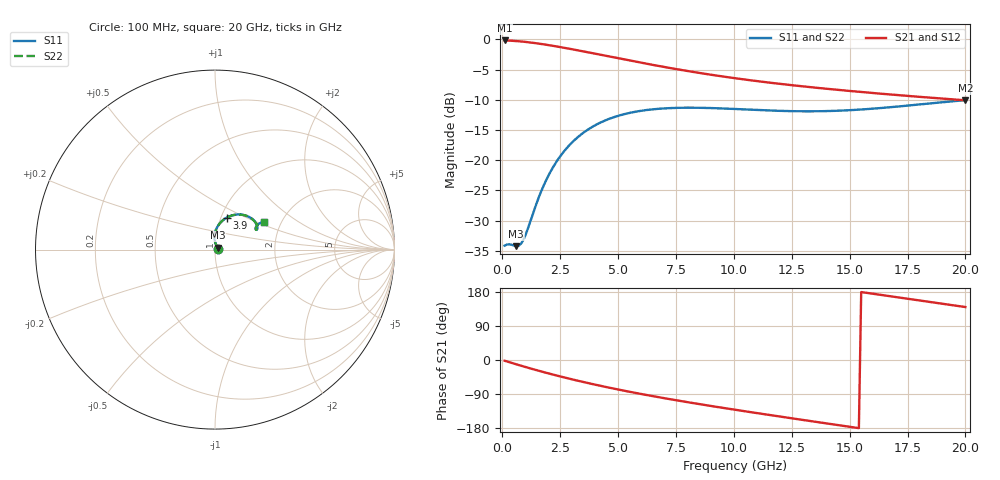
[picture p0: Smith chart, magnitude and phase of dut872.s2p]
! Touchstone file exported from HFSS 2024.1.0
!  File:  C:/UserFiles/LocalFiles/RDL_TSV_Batchsim/temp_RDL_TSV_872_1779927690.aedt
!  Generated:  08:36:16 AM May 28, 2026
!  Design:  RDL_TSV
!  Project:  temp_RDL_TSV_872_1779927690
!  Setup:  Setup1
!  Solution:  Sweep
! Variables:
!  dtsv = 9.63um
!  hbump = 3um
!  htsv = 87.6um
!  ldown = 455.72um
!  lrdl = 411.42um
!  p = 40
!  p1 = 45.75um
!  rhole = 10um
!  subl = 3012.84um
!  t = 450um
!  tdown = 2.97um
!  trdl = 4.13um
!  viad = 10um
!  wdown = 12.96um
!  wrdl = 21.83um
!  xbump = 18um
# GHz S MA R 50.000000
! Terminal data exported
! Port[1] = TM1_1_T1
! Port[2] = TM1_4_T1
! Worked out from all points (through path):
!   200 points, 100 MHz to 20 GHz, reference 50 ohm
!   highest |S21| = -0.17 dB at 100 MHz (marker M1); lowest = -10.1 dB at 20 GHz (marker M2)
!   group delay of S21, straight-line fit = 28.8 ps
!   lowest |S11| = -34.2 dB at 600 MHz (marker M3), VSWR 1.04, Z = 51.6 + j1.13 ohm
!   |S11| at or under -10 dB: start of sweep to end of sweep
!   |S22| runs from -34.2 to -10.1 dB; largest |S21 - S12| = 8.2e-15
!   S11 on the Smith chart (normalised r, x): 100 MHz: 1.04, +0.00; 3.9 GHz: 1.06, +0.39; 20 GHz: 1.64, +0.56
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0.1  0.0196 6.4  0.9801 -1.9  0.9801 -1.9  0.0196 6.4
! Gamma 0 0 0 0
! Port Impedance 50 0 50 0
0.3  0.0201 16.0  0.9769 -5.7  0.9769 -5.7  0.0201 16.0
0.6  0.01939 34.2  0.9689 -11.3  0.9689 -11.3  0.01939 34.2
0.8  0.02023 51.8  0.9618 -14.9  0.9618 -14.9  0.02024 51.8
0.9  0.02167 60.9  0.9577 -16.7  0.9577 -16.7  0.02168 60.8
1.1  0.02696 75.9  0.9487 -20.3  0.9487 -20.3  0.02697 75.9
1.7  0.05636 92.3  0.9156 -30.6  0.9156 -30.6  0.05634 92.2
2.2  0.08789 90.8  0.8838 -38.7  0.8838 -38.7  0.08785 90.7
2.8  0.1269 84.3  0.8435 -47.9  0.8435 -47.9  0.1268 84.2
3.5  0.1686 75.2  0.7958 -58.1  0.7958 -58.1  0.1684 75.1
3.9  0.1892 70.0  0.7689 -63.6  0.7689 -63.6  0.1891 70.0
4.5  0.2154 62.7  0.7298 -71.5  0.7298 -71.5  0.2152 62.7
5.2  0.2385 55.1  0.6866 -80.3  0.6866 -80.3  0.2383 55.1
6  0.2564 47.6  0.6411 -89.7  0.6411 -89.7  0.2561 47.6
6.8  0.2667 41.4  0.6002 -98.7  0.6002 -98.7  0.2664 41.3
8.4  0.2716 32.3  0.5317 -115.3  0.5317 -115.3  0.2712 32.2
10.1  0.265 27.0  0.4756 -131.8  0.4756 -131.8  0.2646 27.0
11.7  0.257 25.5  0.4348 -146.6  0.4348 -146.6  0.2566 25.5
13.4  0.2538 26.5  0.4005 -162.0  0.4005 -162.0  0.2533 26.5
15  0.2592 28.5  0.3742 -176.3  0.3742 -176.3  0.2587 28.4
16.7  0.2738 30.1  0.3505 168.7  0.3505 168.7  0.2732 30.1
20  0.3142 29.4  0.313 139.7  0.313 139.7  0.3137 29.3
